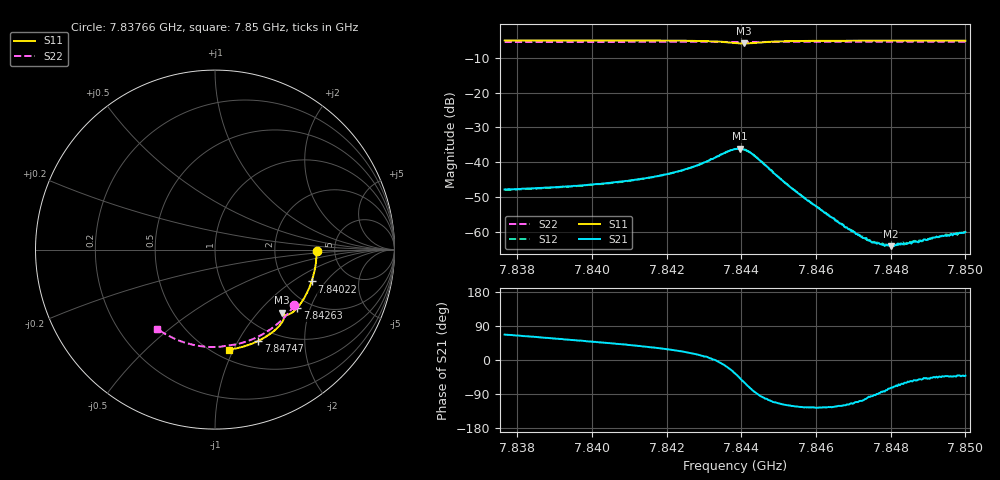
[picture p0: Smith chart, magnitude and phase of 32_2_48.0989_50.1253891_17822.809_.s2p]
#  HZ  S  RI  R  50.00
! Rohde & Schwarz Vector Network Analyzer
! Rohde-Schwarz,ZNB20-2Port,1311601062101988,3.16
! Created: UTC 12/23/2023, 3:37:46 AM
! freq[Hz]  re:S11  im:S11  re:S21  im:S21  re:S12  im:S12  re:S22  im:S22
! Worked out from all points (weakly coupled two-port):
!   401 points, 7.83766 GHz to 7.85 GHz, reference 50 ohm
!   highest |S21| = -36.12 dB at 7.84396 GHz (marker M1); lowest = -64.2 dB at 7.848 GHz (marker M2)
!   lowest |S11| = -5.8 dB at 7.84408 GHz (marker M3), VSWR 3.11, Z = 71.6 - j68.1 ohm
!   |S11| at or under -10 dB: nowhere
!   |S22| runs from -5.4 to -5.3 dB; largest |S21 - S12| = 0.00027
!   S11 on the Smith chart (normalised r, x): 7.83766 GHz: 3.61, -0.10; 7.84022 GHz: 2.77, -1.45; 7.84263 GHz: 1.71, -1.63; 7.84747 GHz: 0.82, -1.22; 7.85 GHz: 0.59, -0.96
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7.837664e9  0.5665 -0.00928  0.00158 0.00372  0.0016 0.00367  0.4422 -0.3098
7.839731e9  0.5481 -0.1458  0.00292 0.00358  0.00288 0.00355  0.3447 -0.4166
7.840224e9  0.5385 -0.1776  0.00333 0.00352  0.00333 0.0035  0.3175 -0.4378
7.840995e9  0.5195 -0.2267  0.00417 0.00347  0.00411 0.00344  0.2724 -0.4677
7.841797e9  0.4935 -0.2762  0.00542 0.00328  0.00537 0.00327  0.2224 -0.4937
7.84263e9  0.4578 -0.3255  0.00784 0.00263  0.00779 0.00267  0.1676 -0.5148
7.843371e9  0.4106 -0.3614  0.0122 -0.000778  0.0121 -0.00081  0.117 -0.5277
7.843833e9  0.3765 -0.3597  0.0126 -0.0089  0.0127 -0.00891  0.0861 -0.5322
7.843957e9  0.3731 -0.3546  0.0106 -0.0115  0.0106 -0.0115  0.0785 -0.5332
7.84408e9  0.3742 -0.3507  0.00772 -0.013  0.00781 -0.0131  0.0708 -0.5344
7.844358e9  0.3838 -0.3557  0.00123 -0.0123  0.00137 -0.0123  0.0529 -0.5375
7.845221e9  0.3675 -0.4139  -0.00232 -0.0042  -0.00234 -0.00427  -0.00762 -0.5428
7.8459e9  0.3332 -0.4496  -0.00144 -0.00207  -0.00146 -0.00204  -0.0555 -0.541
7.846825e9  0.2807 -0.487  -0.000532 -0.00102  -0.000564 -0.00103  -0.1196 -0.5309
7.847473e9  0.2418 -0.5083  -6.82e-05 -0.000713  -6.39e-05 -0.000698  -0.1639 -0.5196
7.847813e9  0.2209 -0.5177  8.57e-05 -0.00063  8.03e-05 -0.000656  -0.1865 -0.5121
7.847967e9  0.2114 -0.5218  0.000158 -0.00061  0.000163 -0.000626  -0.1965 -0.5085
7.847998e9  0.2097 -0.5226  0.000169 -0.000592  0.00017 -0.000611  -0.1986 -0.5076
7.84843e9  0.1824 -0.5326  0.000332 -0.00057  0.000358 -0.000589  -0.2266 -0.4961
7.849293e9  0.1271 -0.5484  0.000609 -0.000583  0.000596 -0.000578  -0.2802 -0.4683
7.84954e9  0.1107 -0.5518  0.00065 -0.0006  0.000616 -0.000636  -0.2951 -0.4591
7.850003e9  0.0804 -0.5569  0.00074 -0.000651  0.000739 -0.000651  -0.3221 -0.4412
